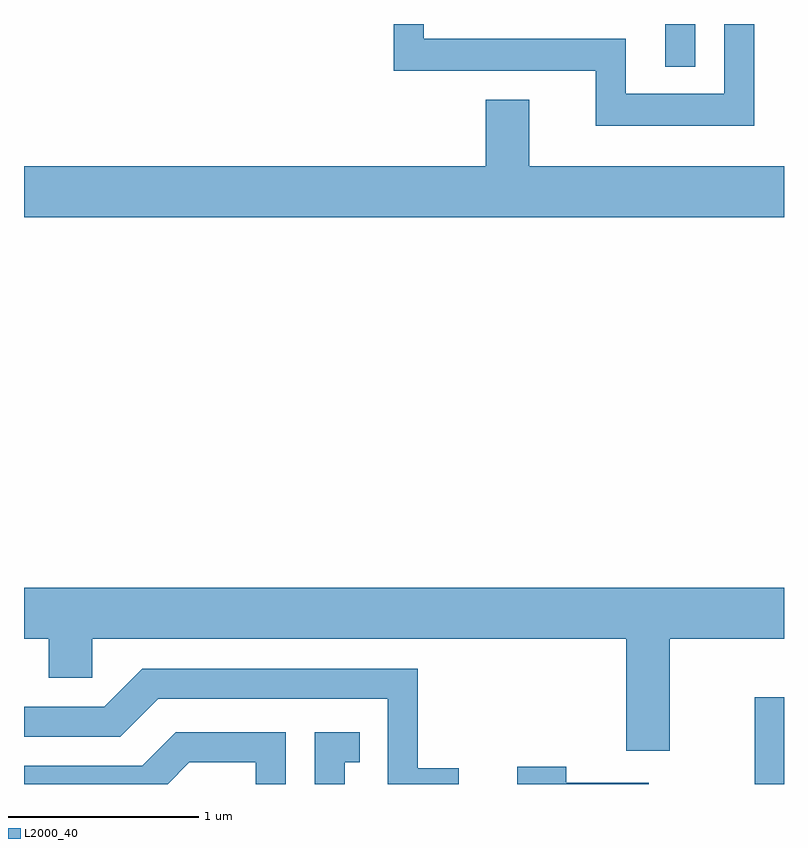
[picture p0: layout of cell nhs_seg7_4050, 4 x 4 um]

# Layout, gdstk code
import gdstk
lib = gdstk.Library(unit=1e-6, precision=1e-09)
def R(c, l, rs):  # rectangles x0, y0, x1, y1
    for r in rs: c.add(gdstk.rectangle(r[:2], r[2:], *l))
def P(c, l, *ps):  # polygons
    for p in ps: c.add(gdstk.Polygon(p, *l))
L2000_40 = (2000, 40)

nhs_seg7_4050 = lib.new_cell('nhs_seg7_4050')
R(nhs_seg7_4050, L2000_40, [(313.456,1680.252,313.611,1680.708), (312.986,1684.028,313.144,1684.252)])
P(nhs_seg7_4050, L2000_40, [(313.454,1684.252),(313.296,1684.252),(313.296,1683.884),(312.779,1683.884),(312.779,1684.174),(311.714,1684.174),(311.714,1684.252),(311.556,1684.252),(311.556,1684.006),(312.621,1684.006),(312.621,1683.716),(313.454,1683.716)],
  [(313.611,1683.504),(312.269,1683.504),(312.269,1683.854),(312.041,1683.854),(312.041,1683.504),(309.611,1683.504),(309.611,1683.236),(313.611,1683.236)],
  [(313.009,1681.016),(313.611,1681.016),(313.611,1681.284),(309.611,1681.284),(309.611,1681.016),(309.741,1681.016),(309.741,1680.811),(309.969,1680.811),(309.969,1681.016),(312.781,1681.016),(312.781,1680.426),(313.009,1680.426)],
  [(311.899,1680.334),(311.684,1680.334),(311.684,1680.859),(310.234,1680.859),(310.034,1680.659),(309.611,1680.659),(309.611,1680.501),(310.117,1680.501),(310.317,1680.701),(311.526,1680.701),(311.526,1680.252),(311.899,1680.252)],
  [(310.482,1680.366),(310.831,1680.366),(310.831,1680.252),(310.989,1680.252),(310.989,1680.524),(310.409,1680.524),(310.234,1680.349),(309.611,1680.349),(309.611,1680.252),(310.368,1680.252)],
  [(311.299,1680.366),(311.378,1680.366),(311.378,1680.524),(311.141,1680.524),(311.141,1680.252),(311.299,1680.252)],
  [(312.899,1680.259),(312.464,1680.259),(312.464,1680.344),(312.206,1680.344),(312.206,1680.252),(312.899,1680.252)])

lib.write_gds('nhs_seg7_4050.gds')
